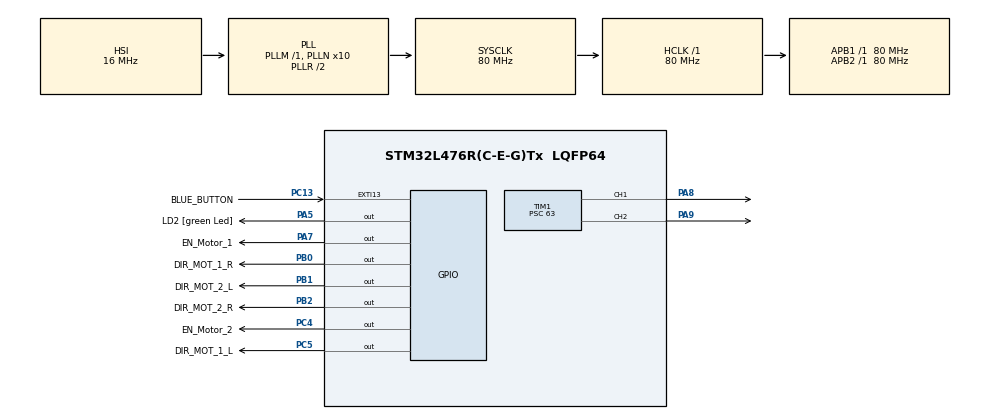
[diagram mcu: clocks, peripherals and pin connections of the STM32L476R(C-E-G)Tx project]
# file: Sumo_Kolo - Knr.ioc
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Mcu.Family=STM32L4
Mcu.Name=STM32L476R(C-E-G)Tx
Mcu.Package=LQFP64
NVIC.PriorityGroup=NVIC_PRIORITYGROUP_4
PA13\ (JTMS-SWDIO).GPIO_Label=TMS
PA13\ (JTMS-SWDIO).Mode=Serial_Wire
PA13\ (JTMS-SWDIO).Signal=SYS_JTMS-SWDIO
PA14\ (JTCK-SWCLK).GPIO_Label=TCK
PA14\ (JTCK-SWCLK).Mode=Serial_Wire
PA14\ (JTCK-SWCLK).Signal=SYS_JTCK-SWCLK
PA2.GPIO_Label=USART_TX
PA2.GPIO_Mode=GPIO_MODE_AF_PP
PA2.GPIO_PuPd=GPIO_NOPULL
PA2.GPIO_Speed=GPIO_SPEED_FREQ_VERY_HIGH
PA2.Signal=USART2_TX
PA3.GPIO_Label=USART_RX
PA3.GPIO_Mode=GPIO_MODE_AF_PP
PA3.GPIO_PuPd=GPIO_NOPULL
PA3.GPIO_Speed=GPIO_SPEED_FREQ_VERY_HIGH
PA3.Signal=USART2_RX
PA5.GPIO_Label=LD2 [green Led]
PA5.GPIO_ModeDefaultOutputPP=GPIO_MODE_OUTPUT_PP
PA5.GPIO_PuPd=GPIO_NOPULL
PA5.GPIO_Speed=GPIO_SPEED_FREQ_LOW
PA5.Signal=GPIO_Output
PA7.GPIO_Label=EN_Motor_1
PA7.Signal=GPIO_Output
PA8.Signal=S_TIM1_CH1
PA9.Signal=S_TIM1_CH2
PB0.GPIO_Label=DIR_MOT_1_R
PB0.Signal=GPIO_Output
PB1.GPIO_Label=DIR_MOT_2_L
PB1.Signal=GPIO_Output
PB2.GPIO_Label=DIR_MOT_2_R
PB2.Signal=GPIO_Output
PB3\ (JTDO-TRACESWO).GPIO_Label=SWO
PB3\ (JTDO-TRACESWO).Signal=SYS_JTDO-SWO
PC13.GPIO_Label=BLUE_BUTTON
PC13.GPIO_ModeDefaultEXTI=GPIO_MODE_IT_FALLING
PC13.GPIO_PuPd=GPIO_NOPULL
PC13.Signal=GPXTI13
PC14-OSC32_IN\ (PC14).Mode=LSE-External-Oscillator
PC14-OSC32_IN\ (PC14).Signal=RCC_OSC32_IN
PC15-OSC32_OUT\ (PC15).Mode=LSE-External-Oscillator
PC15-OSC32_OUT\ (PC15).Signal=RCC_OSC32_OUT
PC4.GPIO_Label=EN_Motor_2
PC4.Signal=GPIO_Output
PC5.GPIO_Label=DIR_MOT_1_L
PC5.Signal=GPIO_Output
PH0-OSC_IN\ (PH0).Signal=RCC_OSC_IN
PH1-OSC_OUT\ (PH1).Signal=RCC_OSC_OUT
ProjectManager.HeapSize=0x200
ProjectManager.StackSize=0x400
ProjectManager.TargetToolchain=STM32CubeIDE
RCC.ADCFreq_Value=64000000
RCC.AHBFreq_Value=80000000
RCC.APB1Freq_Value=80000000
RCC.APB1TimFreq_Value=80000000
RCC.APB2Freq_Value=80000000
RCC.APB2TimFreq_Value=80000000
RCC.CortexFreq_Value=80000000
RCC.HCLKFreq_Value=80000000
RCC.HSE_VALUE=8000000
RCC.HSI_VALUE=16000000
RCC.MSI_VALUE=4000000
RCC.PLLN=10
RCC.PLLSourceVirtual=RCC_PLLSOURCE_HSI
RCC.PREFETCH_ENABLE=1
RCC.SYSCLKFreq_VALUE=80000000
RCC.SYSCLKSource=RCC_SYSCLKSOURCE_PLLCLK
RCC.USBFreq_Value=64000000
RCC.VCOOutputFreq_Value=160000000
SH.S_TIM1_CH1.0=TIM1_CH1,PWM Generation1 CH1
SH.S_TIM1_CH2.0=TIM1_CH2,PWM Generation2 CH2
TIM1.Channel-PWM\ Generation1\ CH1=TIM_CHANNEL_1
TIM1.Channel-PWM\ Generation2\ CH2=TIM_CHANNEL_2
TIM1.Period=256
TIM1.Prescaler=63
VP_TIM1_VS_ClockSourceINT.Mode=Internal
board=NUCLEO-L476RG

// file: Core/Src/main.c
/* USER CODE BEGIN Header */
/*
 * KOD JEST PRZEWIDZIANY NA 2 SILNIKI (PATRZCIE NA NUMERKI PINOUT-ÓW)
 *
 *
 *
 * */
/* USER CODE END Header */
#include "main.h"

/* USER CODE BEGIN Includes */
#include <stdbool.h>
#include <stdio.h>
#include <string.h>
/* USER CODE END Includes */

/* USER CODE BEGIN PD */
#define RIGTH_MOTOR 1
#define LEFT_MOTOR 2
/* USER CODE END PD */

TIM_HandleTypeDef htim1;

void SystemClock_Config(void);
static void MX_GPIO_Init(void);
static void MX_TIM1_Init(void);

/* USER CODE BEGIN 0 */
bool clockWisedirection = true;
//to wiadomo chyba co robi
void enable_motor(int motor_id)
{
	switch(motor_id)
	{
	case 1:
		HAL_GPIO_WritePin(EN_Motor_1_GPIO_Port, EN_Motor_1_Pin,SET);
		break;
	case 2:
		HAL_GPIO_WritePin(EN_Motor_2_GPIO_Port, EN_Motor_2_Pin,SET);
		break;
	}

}

//funckja zmienia kierunek poprzzez zmienienie globalnej zmiennej direction
bool change_direction(bool current_direction,int motor_id)
{
	if(current_direction==true)
	{
		switch(motor_id)
			{
			case 1:
				HAL_GPIO_WritePin(DIR_MOT_1_L_GPIO_Port, DIR_MOT_1_L_Pin,SET);
				HAL_GPIO_WritePin(DIR_MOT_1_R_GPIO_Port, DIR_MOT_1_R_Pin,RESET);
				break;
			case 2:
				HAL_GPIO_WritePin(DIR_MOT_2_L_GPIO_Port, DIR_MOT_2_L_Pin,SET);
				HAL_GPIO_WritePin(DIR_MOT_2_R_GPIO_Port, DIR_MOT_2_R_Pin,RESET);
				break;
			}
		return false;

	}else
	{
		switch(motor_id)
					{
					case 1:
						HAL_GPIO_WritePin(DIR_MOT_1_L_GPIO_Port, DIR_MOT_1_L_Pin,RESET);
						HAL_GPIO_WritePin(DIR_MOT_1_R_GPIO_Port, DIR_MOT_1_R_Pin,SET);
						break;
					case 2:
						HAL_GPIO_WritePin(DIR_MOT_2_L_GPIO_Port, DIR_MOT_2_L_Pin,RESET);
						HAL_GPIO_WritePin(DIR_MOT_2_R_GPIO_Port, DIR_MOT_2_R_Pin,SET);
						break;
					}
		return true;

	}

}
//funkcja ustala wartosc predkosci
void move_at_speed(int speed,int motor_id)
{
	switch(motor_id)
		{
		case 1:
			__HAL_TIM_SET_COMPARE(&htim1, TIM_CHANNEL_1, speed);
			break;
		case 2:
			__HAL_TIM_SET_COMPARE(&htim1, TIM_CHANNEL_2, speed);
			break;
		}
}
/* USER CODE END 0 */

int main(void)
{

  /* MCU Configuration--------------------------------------------------------*/

  /* Reset of all peripherals, Initializes the Flash interface and the Systick. */
  HAL_Init();

  /* Configure the system clock */
  SystemClock_Config();

  /* Initialize all configured peripherals */
  MX_GPIO_Init();
  MX_TIM1_Init();
  /* USER CODE BEGIN 2 */
  HAL_TIM_Base_Start_IT(&htim1);
  HAL_TIM_PWM_Start(&htim1, TIM_CHANNEL_1);
  HAL_TIM_PWM_Start(&htim1, TIM_CHANNEL_2);
  /* USER CODE END 2 */

  /* Infinite loop */
  /* USER CODE BEGIN WHILE */
  int timer=HAL_GetTick();

  while (1)
  {

	  move_at_speed(250,1);
	  move_at_speed(250,2);

	  //kolo jezdzi przez 5 sekund a potem zmienia kierunek

	  if (HAL_GPIO_ReadPin(BLUE_BUTTON_GPIO_Port, BLUE_BUTTON_Pin) == GPIO_PIN_RESET&&HAL_GetTick()>(timer+5000))
	  {

		  	  bool prev_direction=direction;
		  	  clockWisedirection=change_direction(prev_direction,1);
		  	  clockWisedirection=change_direction(prev_direction,2);
			  timer=HAL_GetTick();
	  }
    /* USER CODE END WHILE */

  }
}

void SystemClock_Config(void)
{
  RCC_OscInitTypeDef RCC_OscInitStruct = {0};
  RCC_ClkInitTypeDef RCC_ClkInitStruct = {0};

  /** Configure the main internal regulator output voltage
  */
  if (HAL_PWREx_ControlVoltageScaling(PWR_REGULATOR_VOLTAGE_SCALE1) != HAL_OK)
  {
    Error_Handler();
  }

  /** Initializes the RCC Oscillators according to the specified parameters
  * in the RCC_OscInitTypeDef structure.
  */
  RCC_OscInitStruct.OscillatorType = RCC_OSCILLATORTYPE_HSI;
  RCC_OscInitStruct.HSIState = RCC_HSI_ON;
  RCC_OscInitStruct.HSICalibrationValue = RCC_HSICALIBRATION_DEFAULT;
  RCC_OscInitStruct.PLL.PLLState = RCC_PLL_ON;
  RCC_OscInitStruct.PLL.PLLSource = RCC_PLLSOURCE_HSI;
  RCC_OscInitStruct.PLL.PLLM = 1;
  RCC_OscInitStruct.PLL.PLLN = 10;
  RCC_OscInitStruct.PLL.PLLP = RCC_PLLP_DIV7;
  RCC_OscInitStruct.PLL.PLLQ = RCC_PLLQ_DIV2;
  RCC_OscInitStruct.PLL.PLLR = RCC_PLLR_DIV2;
  if (HAL_RCC_OscConfig(&RCC_OscInitStruct) != HAL_OK)
  {
    Error_Handler();
  }

  /** Initializes the CPU, AHB and APB buses clocks
  */
  RCC_ClkInitStruct.ClockType = RCC_CLOCKTYPE_HCLK|RCC_CLOCKTYPE_SYSCLK
                              |RCC_CLOCKTYPE_PCLK1|RCC_CLOCKTYPE_PCLK2;
  RCC_ClkInitStruct.SYSCLKSource = RCC_SYSCLKSOURCE_PLLCLK;
  RCC_ClkInitStruct.AHBCLKDivider = RCC_SYSCLK_DIV1;
  RCC_ClkInitStruct.APB1CLKDivider = RCC_HCLK_DIV1;
  RCC_ClkInitStruct.APB2CLKDivider = RCC_HCLK_DIV1;

  if (HAL_RCC_ClockConfig(&RCC_ClkInitStruct, FLASH_LATENCY_4) != HAL_OK)
  {
    Error_Handler();
  }
}

static void MX_TIM1_Init(void)
{

  TIM_ClockConfigTypeDef sClockSourceConfig = {0};
  TIM_MasterConfigTypeDef sMasterConfig = {0};
  TIM_OC_InitTypeDef sConfigOC = {0};
  TIM_BreakDeadTimeConfigTypeDef sBreakDeadTimeConfig = {0};

  htim1.Instance = TIM1;
  htim1.Init.Prescaler = 63;
  htim1.Init.CounterMode = TIM_COUNTERMODE_UP;
  htim1.Init.Period = 256;
  htim1.Init.ClockDivision = TIM_CLOCKDIVISION_DIV1;
  htim1.Init.RepetitionCounter = 0;
  htim1.Init.AutoReloadPreload = TIM_AUTORELOAD_PRELOAD_DISABLE;
  if (HAL_TIM_Base_Init(&htim1) != HAL_OK)
  {
    Error_Handler();
  }
  sClockSourceConfig.ClockSource = TIM_CLOCKSOURCE_INTERNAL;
  if (HAL_TIM_ConfigClockSource(&htim1, &sClockSourceConfig) != HAL_OK)
  {
    Error_Handler();
  }
  if (HAL_TIM_PWM_Init(&htim1) != HAL_OK)
  {
    Error_Handler();
  }
  sMasterConfig.MasterOutputTrigger = TIM_TRGO_RESET;
  sMasterConfig.MasterOutputTrigger2 = TIM_TRGO2_RESET;
  sMasterConfig.MasterSlaveMode = TIM_MASTERSLAVEMODE_DISABLE;
  if (HAL_TIMEx_MasterConfigSynchronization(&htim1, &sMasterConfig) != HAL_OK)
  {
    Error_Handler();
  }
  sConfigOC.OCMode = TIM_OCMODE_PWM1;
  sConfigOC.Pulse = 0;
  sConfigOC.OCPolarity = TIM_OCPOLARITY_HIGH;
  sConfigOC.OCNPolarity = TIM_OCNPOLARITY_HIGH;
  sConfigOC.OCFastMode = TIM_OCFAST_DISABLE;
  sConfigOC.OCIdleState = TIM_OCIDLESTATE_RESET;
  sConfigOC.OCNIdleState = TIM_OCNIDLESTATE_RESET;
  if (HAL_TIM_PWM_ConfigChannel(&htim1, &sConfigOC, TIM_CHANNEL_1) != HAL_OK)
  {
    Error_Handler();
  }
  if (HAL_TIM_PWM_ConfigChannel(&htim1, &sConfigOC, TIM_CHANNEL_2) != HAL_OK)
  {
    Error_Handler();
  }
  sBreakDeadTimeConfig.OffStateRunMode = TIM_OSSR_DISABLE;
  sBreakDeadTimeConfig.OffStateIDLEMode = TIM_OSSI_DISABLE;
  sBreakDeadTimeConfig.LockLevel = TIM_LOCKLEVEL_OFF;
  sBreakDeadTimeConfig.DeadTime = 0;
  sBreakDeadTimeConfig.BreakState = TIM_BREAK_DISABLE;
  sBreakDeadTimeConfig.BreakPolarity = TIM_BREAKPOLARITY_HIGH;
  sBreakDeadTimeConfig.BreakFilter = 0;
  sBreakDeadTimeConfig.Break2State = TIM_BREAK2_DISABLE;
  sBreakDeadTimeConfig.Break2Polarity = TIM_BREAK2POLARITY_HIGH;
  sBreakDeadTimeConfig.Break2Filter = 0;
  sBreakDeadTimeConfig.AutomaticOutput = TIM_AUTOMATICOUTPUT_DISABLE;
  if (HAL_TIMEx_ConfigBreakDeadTime(&htim1, &sBreakDeadTimeConfig) != HAL_OK)
  {
    Error_Handler();
  }
  HAL_TIM_MspPostInit(&htim1);

}

static void MX_GPIO_Init(void)
{
  GPIO_InitTypeDef GPIO_InitStruct = {0};

  /* GPIO Ports Clock Enable */
  __HAL_RCC_GPIOC_CLK_ENABLE();
  __HAL_RCC_GPIOH_CLK_ENABLE();
  __HAL_RCC_GPIOA_CLK_ENABLE();
  __HAL_RCC_GPIOB_CLK_ENABLE();

  /*Configure GPIO pin Output Level */
  HAL_GPIO_WritePin(GPIOA, LD2_Pin|EN_Motor_1_Pin, GPIO_PIN_RESET);

  /*Configure GPIO pin Output Level */
  HAL_GPIO_WritePin(GPIOC, EN_Motor_2_Pin|DIR_MOT_1_L_Pin, GPIO_PIN_RESET);

  /*Configure GPIO pin Output Level */
  HAL_GPIO_WritePin(GPIOB, DIR_MOT_1_R_Pin|DIR_MOT_2_L_Pin|DIR_MOT_2_R_Pin, GPIO_PIN_RESET);

  /*Configure GPIO pin : BLUE_BUTTON_Pin */
  GPIO_InitStruct.Pin = BLUE_BUTTON_Pin;
  GPIO_InitStruct.Mode = GPIO_MODE_IT_FALLING;
  GPIO_InitStruct.Pull = GPIO_NOPULL;
  HAL_GPIO_Init(BLUE_BUTTON_GPIO_Port, &GPIO_InitStruct);

  /*Configure GPIO pins : USART_TX_Pin USART_RX_Pin */
  GPIO_InitStruct.Pin = USART_TX_Pin|USART_RX_Pin;
  GPIO_InitStruct.Mode = GPIO_MODE_AF_PP;
  GPIO_InitStruct.Pull = GPIO_NOPULL;
  GPIO_InitStruct.Speed = GPIO_SPEED_FREQ_VERY_HIGH;
  GPIO_InitStruct.Alternate = GPIO_AF7_USART2;
  HAL_GPIO_Init(GPIOA, &GPIO_InitStruct);

  /*Configure GPIO pins : LD2_Pin EN_Motor_1_Pin */
  GPIO_InitStruct.Pin = LD2_Pin|EN_Motor_1_Pin;
  GPIO_InitStruct.Mode = GPIO_MODE_OUTPUT_PP;
  GPIO_InitStruct.Pull = GPIO_NOPULL;
  GPIO_InitStruct.Speed = GPIO_SPEED_FREQ_LOW;
  HAL_GPIO_Init(GPIOA, &GPIO_InitStruct);

  /*Configure GPIO pins : EN_Motor_2_Pin DIR_MOT_1_L_Pin */
  GPIO_InitStruct.Pin = EN_Motor_2_Pin|DIR_MOT_1_L_Pin;
  GPIO_InitStruct.Mode = GPIO_MODE_OUTPUT_PP;
  GPIO_InitStruct.Pull = GPIO_NOPULL;
  GPIO_InitStruct.Speed = GPIO_SPEED_FREQ_LOW;
  HAL_GPIO_Init(GPIOC, &GPIO_InitStruct);

  /*Configure GPIO pins : DIR_MOT_1_R_Pin DIR_MOT_2_L_Pin DIR_MOT_2_R_Pin */
  GPIO_InitStruct.Pin = DIR_MOT_1_R_Pin|DIR_MOT_2_L_Pin|DIR_MOT_2_R_Pin;
  GPIO_InitStruct.Mode = GPIO_MODE_OUTPUT_PP;
  GPIO_InitStruct.Pull = GPIO_NOPULL;
  GPIO_InitStruct.Speed = GPIO_SPEED_FREQ_LOW;
  HAL_GPIO_Init(GPIOB, &GPIO_InitStruct);

}

void Error_Handler(void)
{
  __disable_irq();
  while (1)
  {
  }
}
